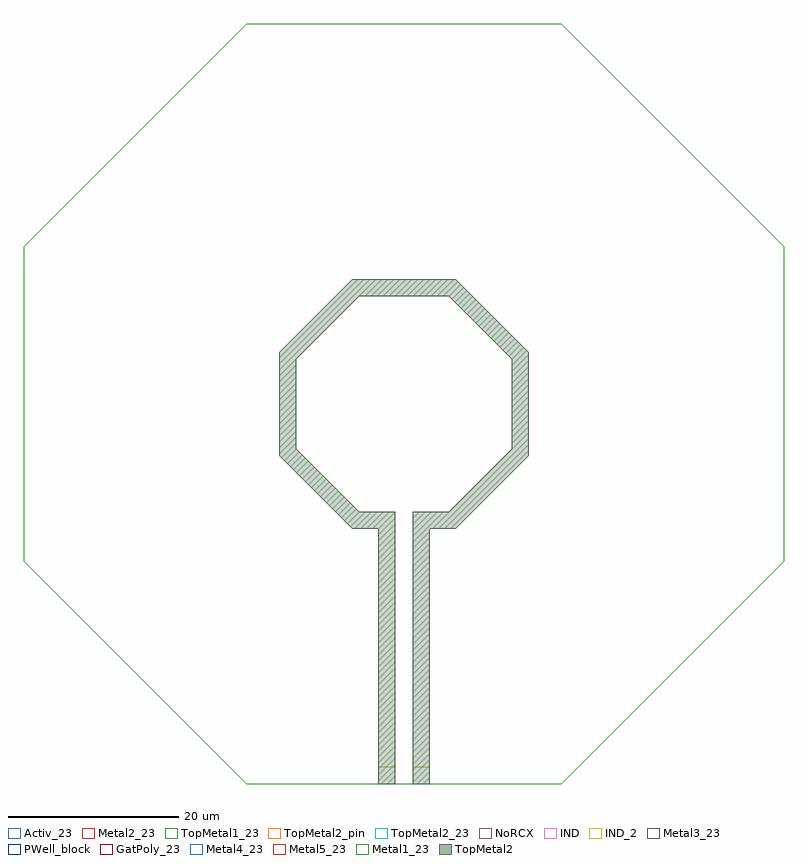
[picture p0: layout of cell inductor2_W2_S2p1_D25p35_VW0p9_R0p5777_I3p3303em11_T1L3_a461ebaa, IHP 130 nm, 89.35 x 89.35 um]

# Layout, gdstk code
import gdstk
lib = gdstk.Library(unit=1e-6, precision=1e-09)
def R(c, l, rs):  # rectangles x0, y0, x1, y1
    for r in rs: c.add(gdstk.rectangle(r[:2], r[2:], *l))
def P(c, l, *ps):  # polygons
    for p in ps: c.add(gdstk.Polygon(p, *l))
Activ_23 = (1, 23)
GatPoly_23 = (5, 23)
Metal1_23 = (8, 23)
Metal2_23 = (10, 23)
IND = (27, 0)
IND_2 = (27, 2)
Metal3_23 = (30, 23)
PWell_block = (46, 21)
Metal4_23 = (50, 23)
Metal5_23 = (67, 23)
TopMetal1_23 = (126, 23)
TopMetal2 = (134, 0)
TopMetal2_pin = (134, 2)
TopMetal2_23 = (134, 23)
NoRCX = (148, 0)

rectangle_gdsfactorypcom = lib.new_cell('rectangle_gdsfactorypcomponentspshapesprectangle_S2_32__92c0b73a')
R(rectangle_gdsfactorypcom, TopMetal2, [(0,0,2,32)])

c_rectangle_gdsfactorypcom = lib.new_cell('rectangle_gdsfactorypcomponentspshapesprectangle_S2_2_L_ef4d5838')
R(c_rectangle_gdsfactorypcom, TopMetal2_pin, [(0,0,2,2)])

c_rectangle_gdsfactorypcom_ = lib.new_cell('rectangle_gdsfactorypcomponentspshapesprectangle_S2_2_L_b543f7ed')
R(c_rectangle_gdsfactorypcom_, IND_2, [(0,0,2,2)])

unnamed_440 = lib.new_cell('Unnamed_440')
P(unnamed_440, TopMetal2, [(-6.079,30),(-14.675,38.596),(-14.675,50.754),(-6.079,59.35),(-1.05,59.35),(-1.05,57.35),(-5.25,57.35),(-12.675,49.925),(-12.675,39.425),(-5.25,32),(-1.05,32),(-1.05,30)])

unnamed_441 = lib.new_cell('Unnamed_441')
P(unnamed_441, TopMetal2, [(1.05,30),(1.05,32),(5.25,32),(12.675,39.425),(12.675,49.925),(5.25,57.35),(1.05,57.35),(1.05,59.35),(6.079,59.35),(14.675,50.754),(14.675,38.596),(6.079,30)])

unnamed_442 = lib.new_cell('Unnamed_442')
R(unnamed_442, TopMetal2, [(-3.05,57.35,3.05,59.35)])

inductor2_w2_s2p1_d25p35 = lib.new_cell('inductor2_W2_S2p1_D25p35_VW0p9_R0p5777_I3p3303em11_T1L3_a461ebaa')
P(inductor2_w2_s2p1_d25p35, Activ_23, [(-18.505,0),(-44.675,26.17),(-44.675,63.18),(-18.505,89.35),(18.505,89.35),(44.675,63.18),(44.675,26.17),(18.505,0)])
P(inductor2_w2_s2p1_d25p35, GatPoly_23, [(-18.505,0),(-44.675,26.17),(-44.675,63.18),(-18.505,89.35),(18.505,89.35),(44.675,63.18),(44.675,26.17),(18.505,0)])
P(inductor2_w2_s2p1_d25p35, Metal1_23, [(-18.505,0),(-44.675,26.17),(-44.675,63.18),(-18.505,89.35),(18.505,89.35),(44.675,63.18),(44.675,26.17),(18.505,0)])
P(inductor2_w2_s2p1_d25p35, Metal2_23, [(-18.505,0),(-44.675,26.17),(-44.675,63.18),(-18.505,89.35),(18.505,89.35),(44.675,63.18),(44.675,26.17),(18.505,0)])
P(inductor2_w2_s2p1_d25p35, IND, [(-18.505,0),(-44.675,26.17),(-44.675,63.18),(-18.505,89.35),(18.505,89.35),(44.675,63.18),(44.675,26.17),(18.505,0)])
P(inductor2_w2_s2p1_d25p35, Metal3_23, [(-18.505,0),(-44.675,26.17),(-44.675,63.18),(-18.505,89.35),(18.505,89.35),(44.675,63.18),(44.675,26.17),(18.505,0)])
P(inductor2_w2_s2p1_d25p35, PWell_block, [(-18.505,0),(-44.675,26.17),(-44.675,63.18),(-18.505,89.35),(18.505,89.35),(44.675,63.18),(44.675,26.17),(18.505,0)])
P(inductor2_w2_s2p1_d25p35, Metal4_23, [(-18.505,0),(-44.675,26.17),(-44.675,63.18),(-18.505,89.35),(18.505,89.35),(44.675,63.18),(44.675,26.17),(18.505,0)])
P(inductor2_w2_s2p1_d25p35, Metal5_23, [(-18.505,0),(-44.675,26.17),(-44.675,63.18),(-18.505,89.35),(18.505,89.35),(44.675,63.18),(44.675,26.17),(18.505,0)])
P(inductor2_w2_s2p1_d25p35, TopMetal1_23, [(-18.505,0),(-44.675,26.17),(-44.675,63.18),(-18.505,89.35),(18.505,89.35),(44.675,63.18),(44.675,26.17),(18.505,0)])
P(inductor2_w2_s2p1_d25p35, TopMetal2_23, [(-18.505,0),(-44.675,26.17),(-44.675,63.18),(-18.505,89.35),(18.505,89.35),(44.675,63.18),(44.675,26.17),(18.505,0)])
P(inductor2_w2_s2p1_d25p35, NoRCX, [(-18.505,0),(-44.675,26.17),(-44.675,63.18),(-18.505,89.35),(18.505,89.35),(44.675,63.18),(44.675,26.17),(18.505,0)])
inductor2_w2_s2p1_d25p35.add(gdstk.Reference(rectangle_gdsfactorypcom, (-3.05,0)))
inductor2_w2_s2p1_d25p35.add(gdstk.Reference(c_rectangle_gdsfactorypcom, (-3.05,0)))
inductor2_w2_s2p1_d25p35.add(gdstk.Reference(c_rectangle_gdsfactorypcom_, (-3.05,0)))
inductor2_w2_s2p1_d25p35.add(gdstk.Reference(rectangle_gdsfactorypcom, (1.05,0)))
inductor2_w2_s2p1_d25p35.add(gdstk.Reference(c_rectangle_gdsfactorypcom, (1.05,0)))
inductor2_w2_s2p1_d25p35.add(gdstk.Reference(c_rectangle_gdsfactorypcom_, (1.05,0)))
inductor2_w2_s2p1_d25p35.add(gdstk.Reference(unnamed_440, (0,0)))
inductor2_w2_s2p1_d25p35.add(gdstk.Reference(unnamed_441, (0,0)))
inductor2_w2_s2p1_d25p35.add(gdstk.Reference(unnamed_442, (0,0)))

lib.write_gds('inductor2_W2_S2p1_D25p35_VW0p9_R0p5777_I3p3303em11_T1L3_a461ebaa.gds')
